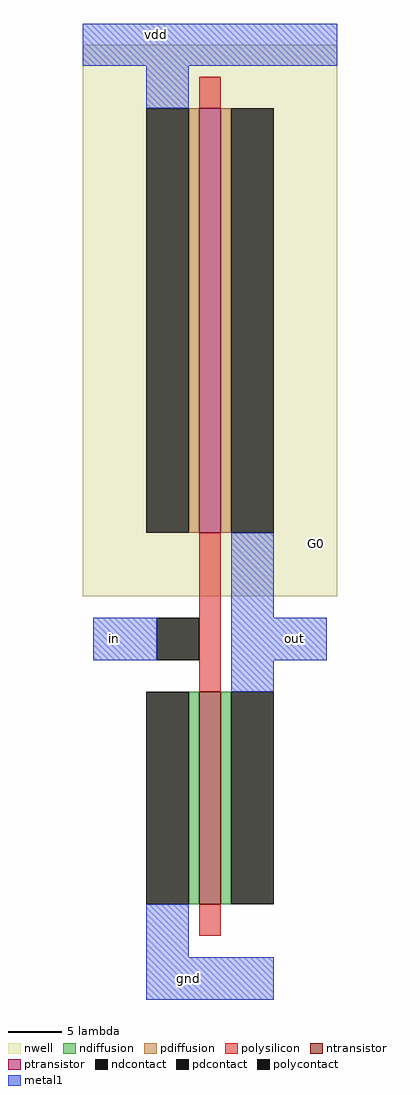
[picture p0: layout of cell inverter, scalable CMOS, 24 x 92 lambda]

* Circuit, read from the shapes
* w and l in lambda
.subckt inverter G0 gnd in out vdd
M1 out in gnd VSUBS nfet w=20 l=2
M2 out in vdd G0 pfet w=40 l=2
.ends

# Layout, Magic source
magic
tech scmos
<< nwell >>
rect -56 195 -32 247
<< ntransistor >>
rect -45 166 -43 186
<< ptransistor >>
rect -45 201 -43 241
<< ndiffusion >>
rect -46 166 -45 186
rect -43 166 -42 186
<< pdiffusion >>
rect -46 201 -45 241
rect -43 201 -42 241
<< ndcontact >>
rect -50 166 -46 186
rect -42 166 -38 186
<< pdcontact >>
rect -50 201 -46 241
rect -42 201 -38 241
<< polysilicon >>
rect -45 241 -43 244
rect -45 186 -43 201
rect -45 163 -43 166
<< polycontact >>
rect -49 189 -45 193
<< metal1 >>
rect -56 245 -32 249
rect -50 241 -46 245
rect -42 193 -38 201
rect -55 189 -49 193
rect -42 189 -33 193
rect -42 186 -38 189
rect -50 161 -46 166
rect -50 157 -38 161
<< labels >>
rlabel metal1 -46 159 -46 159 1 gnd
rlabel metal1 -49 248 -49 248 5 vdd
rlabel nwell -34 200 -34 200 1 G0
rlabel metal1 -53 191 -53 191 3 in
rlabel metal1 -36 191 -36 191 7 out
<< end >>
